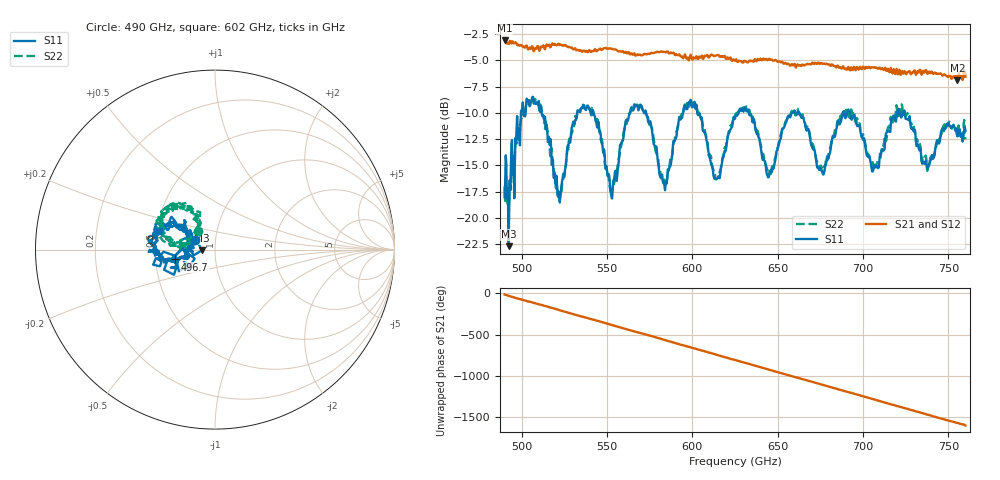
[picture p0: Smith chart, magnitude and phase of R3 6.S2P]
! Python used to change reference impedance from 50 to 1.
# Hz S RI R 1
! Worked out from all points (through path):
!   811 points, 490 GHz to 760 GHz, reference 1 ohm
!   highest |S21| = -3.10 dB at 490 GHz (marker M1); lowest = -6.9 dB at 755.3 GHz (marker M2)
!   group delay of S21, straight-line fit = 16.3 ps
!   lowest |S11| = -22.7 dB at 492.3 GHz (marker M3), VSWR 1.16, Z = 0.864 - j0.00807 ohm
!   |S11| at or under -10 dB: 662.6 GHz to 688.2 GHz (25.61 GHz wide, 3.79 % of centre); 692.4 GHz to 719.9 GHz (27.44 GHz wide, 3.89 % of centre); 724.5 GHz to end of sweep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
!   |S22| runs from -18.8 to -8.7 dB; largest |S21 - S12| = 0.12
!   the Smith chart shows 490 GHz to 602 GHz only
!   S11 on the Smith chart (normalised r, x): 490 GHz: 0.79, +0.09; 496.7 GHz: 0.63, -0.07; 602 GHz: 0.51, +0.12
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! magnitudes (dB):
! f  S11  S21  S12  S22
! 490 GHz  -18.0  -3.1  -3.1  -17.0
! 492.3 GHz  -22.7  -3.5  -3.1  -17.7
! 496.7 GHz  -12.8  -3.3  -3.2  -12.8
! 508.7 GHz  -9.0  -3.8  -3.8  -8.9
! 522.3 GHz  -18.5  -3.5  -3.5  -18.2
! 535 GHz  -9.6  -4.1  -4.1  -9.5
! 552.7 GHz  -18.0  -3.9  -3.9  -17.4
! 567 GHz  -9.3  -4.5  -4.5  -9.3
! 580 GHz  -14.8  -4.2  -4.2  -14.5
! 602 GHz  -9.6  -4.8  -4.8  -9.5
! 614 GHz  -16.3  -4.5  -4.5  -15.9
! 625 GHz  -10.6  -5.0  -5.0  -10.3
! 644.7 GHz  -16.1  -4.9  -4.9  -15.9
! 659 GHz  -10.0  -5.5  -5.5  -10.0
! 670 GHz  -13.2  -5.3  -5.3  -12.9
! 676.7 GHz  -15.9  -5.3  -5.3  -15.2
! 691.7 GHz  -9.8  -5.7  -5.7  -9.9
! 707 GHz  -15.1  -5.7  -5.7  -15.2
! 715 GHz  -11.8  -5.9  -5.9  -11.3
! 738.3 GHz  -15.2  -6.1  -6.1  -14.8
! 755.3 GHz  -12.2  -6.9  -6.9  -12.2
! 760 GHz  -11.7  -6.5  -6.6  -12.5
